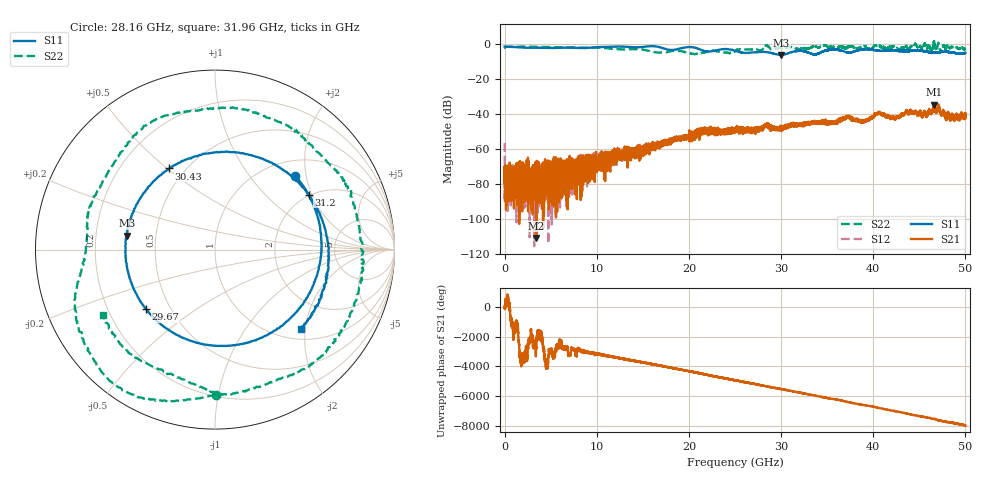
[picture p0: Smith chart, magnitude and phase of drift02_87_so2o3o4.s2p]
!Created with skrf (http://scikit-rf.org).
# Hz S RI R 50.0
!freq ReS11 ImS11 ReS21 ImS21 ReS12 ImS12 ReS22 ImS22
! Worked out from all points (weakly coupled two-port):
!   10001 points, 300 kHz to 50 GHz, reference 50 ohm
!   highest |S21| = -34.65 dB at 46.59 GHz (marker M1); lowest = -110.9 dB at 3.43 GHz (marker M2)
!   lowest |S11| = -6.1 dB at 30.04 GHz (marker M3), VSWR 2.98, Z = 16.8 + j3.49 ohm
!   |S11| at or under -10 dB: nowhere
!   |S22| runs from -5.7 to 2.2 dB; largest |S21 - S12| = 0.0032
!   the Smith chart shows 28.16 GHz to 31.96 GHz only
!   S11 on the Smith chart (normalised r, x): 28.16 GHz: 1.34, +1.73; 29.67 GHz: 0.37, -0.33; 30.43 GHz: 0.41, +0.51; 31.2 GHz: 1.97, +1.90; 31.96 GHz: 1.22, -1.89
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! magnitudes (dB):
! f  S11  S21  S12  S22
! 300 kHz  -1.3  -73.3  -56.6  -2.1
! 255.3 MHz  -1.4  -83.3  -84.7  -1.4
! 3.43 GHz  -2.0  -110.9  -84.3  -1.5
! 4.695 GHz  -2.1  -66.5  -69.7  -1.6
! 8.335 GHz  -2.2  -66.1  -70.0  -1.9
! 16.67 GHz  -1.4  -57.5  -57.0  -4.7
! 21.47 GHz  -3.4  -49.3  -49.1  -4.8
! 25 GHz  -3.7  -48.2  -50.0  -3.9
! 28.16 GHz  -4.3  -47.2  -47.3  -1.9
! 29.67 GHz  -5.9  -47.7  -48.9  -2.1
! 30.04 GHz  -6.1  -48.1  -47.7  -2.0
! 30.43 GHz  -5.7  -47.2  -46.9  -1.8
! 31.2 GHz  -4.4  -46.7  -46.3  -1.7
! 31.96 GHz  -3.7  -45.9  -45.8  -2.8
! 33.34 GHz  -5.5  -44.7  -44.8  -1.6
! 37.27 GHz  -4.7  -41.3  -41.3  -1.4
! 38.84 GHz  -3.0  -44.6  -44.1  -1.2
! 40.63 GHz  -3.6  -39.4  -39.0  -0.9
! 41.67 GHz  -3.6  -41.2  -41.2  -1.9
! 46.59 GHz  -4.7  -34.6  -35.0  1.8
! 48.57 GHz  -4.7  -40.9  -40.7  -1.6
! 50 GHz  -4.9  -40.3  -41.1  -2.7
